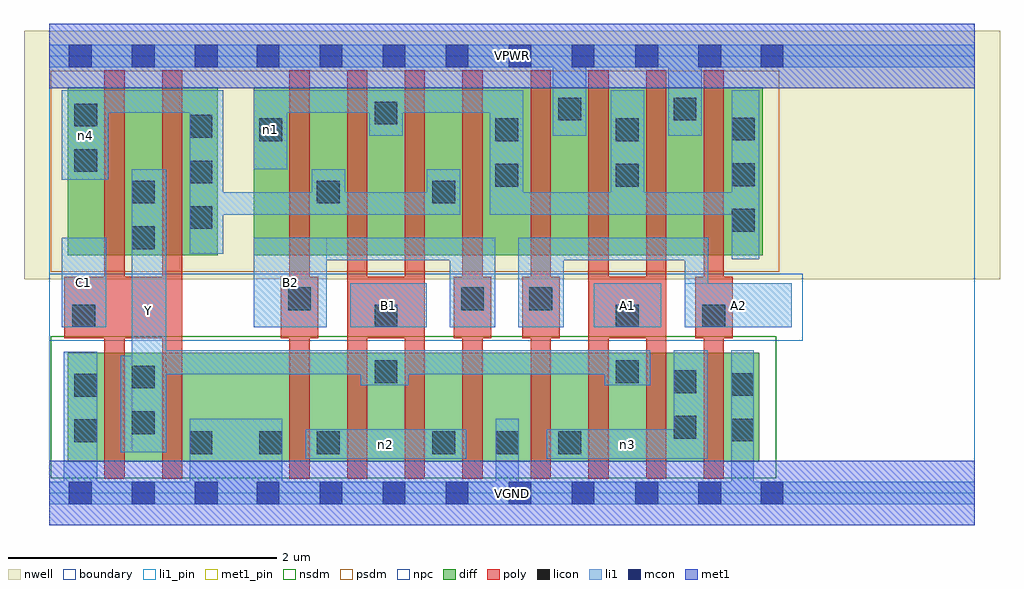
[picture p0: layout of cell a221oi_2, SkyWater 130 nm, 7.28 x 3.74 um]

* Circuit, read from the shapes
.subckt a221oi_2 A1 A2 B1 B2 C1 VGND VPWR Y n1 n2 n3 n4
XM1 Y C1 VGND VSUBS sky130_fd_pr__nfet_01v8 w=0.81 l=0.15 m=2
XM2 n2 B2 VGND VSUBS sky130_fd_pr__nfet_01v8 w=0.81 l=0.15 m=2
XM3 Y B1 n2 VSUBS sky130_fd_pr__nfet_01v8 w=0.81 l=0.15 m=2
XM4 n3 A2 VGND VSUBS sky130_fd_pr__nfet_01v8 w=0.81 l=0.15 m=2
XM5 Y A1 n3 VSUBS sky130_fd_pr__nfet_01v8 w=0.81 l=0.15 m=2
XM6 Y C1 n4 n5 sky130_fd_pr__pfet_01v8 w=1.25 l=0.15 m=2
XM7 n4 B2 n1 n5 sky130_fd_pr__pfet_01v8 w=1.25 l=0.15 m=2
XM8 n1 B1 n4 n5 sky130_fd_pr__pfet_01v8 w=1.25 l=0.15 m=2
XM9 VPWR A2 n1 n5 sky130_fd_pr__pfet_01v8 w=1.25 l=0.15 m=2
XM10 n1 A1 VPWR n5 sky130_fd_pr__pfet_01v8 w=1.25 l=0.15 m=2
.ends

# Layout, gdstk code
import gdstk
lib = gdstk.Library(unit=1e-6, precision=1e-09)
def R(c, l, rs):  # rectangles x0, y0, x1, y1
    for r in rs: c.add(gdstk.rectangle(r[:2], r[2:], *l))
def A(c, l, x, y, w, h, nx, ny, dx, dy):  # array of equal rectangles
    R(c, l, [(x+i*dx, y+j*dy, x+i*dx+w, y+j*dy+h) for i in range(nx) for j in range(ny)])
nwell = (64, 20)
diff = (65, 20)
poly = (66, 20)
licon = (66, 44)
li1_pin = (67, 16)
li1 = (67, 20)
mcon = (67, 44)
met1_pin = (68, 16)
met1 = (68, 20)
nsdm = (93, 44)
psdm = (94, 20)
npc = (95, 20)
boundary = (235, 4)

a221oi_2 = lib.new_cell('a221oi_2')
R(a221oi_2, nwell, [(-0.19,1.595,7.09,3.45), (0,1.595,6.9,3.45)])
R(a221oi_2, diff, [(0.135,0.235,5.295,1.045), (0.135,1.775,1.255,3.025), (1.525,1.775,5.32,3.025)])
A(a221oi_2, poly, 1.79, 0.105, 0.15, 3.05, 4, 1, 0.43, 0)
A(a221oi_2, poly, 3.59, 0.105, 0.15, 3.05, 4, 1, 0.43, 0)
R(a221oi_2, poly, [(0.41,0.105,0.56,3.155), (0.84,0.105,0.99,3.155), (0.11,1.155,0.99,1.615), (1.725,1.155,2.005,1.615), (2.22,1.155,2.8,1.615), (3.015,1.155,3.295,1.615), (3.525,1.155,3.805,1.615), (4.02,1.155,4.6,1.615), (4.815,1.155,5.095,1.615)])
A(a221oi_2, licon, 5.09, 1.95, 0.17, 0.17, 1, 3, 0, 0.34)
A(a221oi_2, licon, 1.045, 1.97, 0.17, 0.17, 1, 3, 0, 0.34)
R(a221oi_2, licon, [(1.045,0.29,1.215,0.46), (1.565,0.29,1.735,0.46), (1.995,0.29,2.165,0.46), (2.855,0.29,3.025,0.46), (3.33,0.29,3.5,0.46), (3.795,0.29,3.965,0.46), (0.185,0.38,0.355,0.55), (5.085,0.385,5.255,0.555), (4.655,0.405,4.825,0.575), (0.615,0.44,0.785,0.61), (0.185,0.72,0.355,0.89), (5.085,0.725,5.255,0.895), (4.655,0.745,4.825,0.915), (0.615,0.78,0.785,0.95), (2.425,0.82,2.595,0.99), (4.225,0.82,4.395,0.99), (0.17,1.235,0.34,1.405), (2.425,1.235,2.595,1.405), (4.225,1.235,4.395,1.405), (4.87,1.235,5.04,1.405), (1.78,1.365,1.95,1.535), (3.07,1.365,3.24,1.535), (3.58,1.365,3.75,1.535), (0.615,1.82,0.785,1.99), (0.615,2.16,0.785,2.33), (1.995,2.16,2.165,2.33), (2.855,2.16,3.025,2.33), (3.325,2.285,3.495,2.455), (4.225,2.285,4.395,2.455), (0.185,2.395,0.355,2.565), (1.565,2.625,1.735,2.795), (3.325,2.625,3.495,2.795), (4.225,2.625,4.395,2.795), (0.185,2.735,0.355,2.905), (2.425,2.75,2.595,2.92), (3.795,2.78,3.965,2.95), (4.655,2.78,4.825,2.95)])
R(a221oi_2, li1_pin, [(0.615,0.305,0.87,2.415), (0.09,1.235,0.425,1.905), (1.525,1.235,2.07,1.905), (2.245,1.235,2.815,1.565), (4.06,1.235,4.565,1.565), (4.74,1.235,5.535,1.565)])
R(a221oi_2, li1, [(0,-0.085,6.9,0.085), (0.105,-0.085,0.355,1.055), (1.045,-0.085,1.735,0.555), (3.33,-0.085,3.5,0.555), (5.085,-0.085,5.255,1.065), (1.91,0.255,3.11,0.475), (3.71,0.255,4.91,0.475), (4.655,0.255,4.91,1.065), (0.53,0.305,0.87,1.025), (0.615,0.305,0.87,2.415), (2.32,0.805,2.68,1.065), (4.14,0.805,4.48,1.065), (0.615,0.885,4.48,1.065), (0.09,1.235,0.425,1.905), (1.525,1.235,2.07,1.905), (2.245,1.235,2.815,1.565), (2.985,1.235,3.325,1.905), (3.495,1.235,3.835,1.905), (4.06,1.235,4.565,1.565), (4.74,1.235,5.535,1.565), (4.74,1.235,4.915,1.905), (1.525,1.735,3.325,1.905), (3.495,1.735,4.915,1.905), (5.09,1.745,5.295,3.005), (1.045,1.785,1.295,3.005), (1.045,2.075,3.065,2.245), (1.955,2.075,2.205,2.415), (2.815,2.075,3.065,2.415), (3.285,2.075,5.295,2.245), (3.285,2.075,3.535,3.005), (4.185,2.075,4.435,3.005), (0.09,2.335,0.44,3.005), (1.525,2.415,1.775,3.005), (2.385,2.665,2.635,3.005), (3.755,2.665,4.005,3.345), (4.615,2.665,4.865,3.345), (0.09,2.835,1.295,3.005), (1.525,2.835,3.535,3.005), (0,3.175,6.9,3.345)])
A(a221oi_2, mcon, 0.145, -0.085, 0.17, 0.17, 3, 2, 0.47, 3.26)
A(a221oi_2, mcon, 1.545, -0.085, 0.17, 0.17, 6, 2, 0.47, 3.26)
R(a221oi_2, mcon, [(4.37,-0.085,4.54,0.085), (4.84,-0.085,5.01,0.085), (5.305,-0.085,5.475,0.085), (4.37,3.175,4.54,3.345), (4.84,3.175,5.01,3.345), (5.305,3.175,5.475,3.345)])
R(a221oi_2, met1_pin, [(0,-0.24,6.9,0.24), (0,3.02,6.9,3.5)])
R(a221oi_2, met1, [(0,-0.24,6.9,0.24), (0,3.02,6.9,3.5)])
R(a221oi_2, nsdm, [(0.01,0.11,5.42,1.17)])
R(a221oi_2, psdm, [(0.01,1.65,5.445,3.15)])
R(a221oi_2, npc, [(0,1.135,5.62,1.635)])
R(a221oi_2, boundary, [(0,0,6.9,3.26)])
a221oi_2.add(gdstk.Label('A1', (4.312,1.4), layer=67, texttype=5))
a221oi_2.add(gdstk.Label('A2', (5.137,1.4), layer=67, texttype=5))
a221oi_2.add(gdstk.Label('B1', (2.53,1.4), layer=67, texttype=5))
a221oi_2.add(gdstk.Label('B2', (1.797,1.57), layer=67, texttype=5))
a221oi_2.add(gdstk.Label('C1', (0.257,1.57), layer=67, texttype=5))
a221oi_2.add(gdstk.Label('Y', (0.742,1.36), layer=67, texttype=5))
a221oi_2.add(gdstk.Label('n2', (2.51,0.365), layer=67, texttype=5))
a221oi_2.add(gdstk.Label('n3', (4.31,0.365), layer=67, texttype=5))
a221oi_2.add(gdstk.Label('n4', (0.265,2.67), layer=67, texttype=5))
a221oi_2.add(gdstk.Label('n1', (1.65,2.71), layer=67, texttype=5))
a221oi_2.add(gdstk.Label('VPWR', (3.45,3.26), layer=68, texttype=5))
a221oi_2.add(gdstk.Label('VGND', (3.45,0), layer=68, texttype=5))
a221oi_2.add(gdstk.Label('A1', (4.312,1.4), layer=67, texttype=16))
a221oi_2.add(gdstk.Label('A2', (5.137,1.4), layer=67, texttype=16))
a221oi_2.add(gdstk.Label('B1', (2.53,1.4), layer=67, texttype=16))
a221oi_2.add(gdstk.Label('B2', (1.797,1.57), layer=67, texttype=16))
a221oi_2.add(gdstk.Label('C1', (0.257,1.57), layer=67, texttype=16))
a221oi_2.add(gdstk.Label('Y', (0.742,1.36), layer=67, texttype=16))
a221oi_2.add(gdstk.Label('VPWR', (3.45,3.26), layer=68, texttype=16))
a221oi_2.add(gdstk.Label('VGND', (3.45,0), layer=68, texttype=16))

lib.write_gds('a221oi_2.gds')
